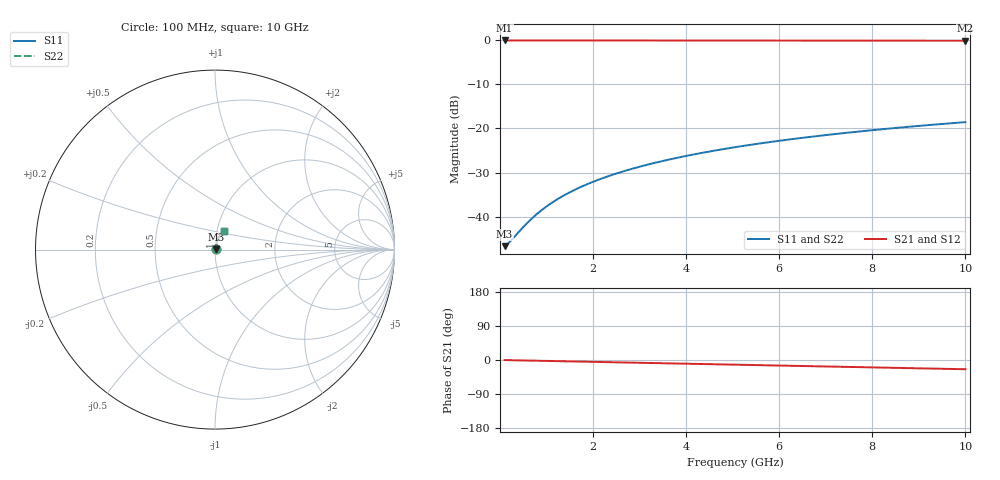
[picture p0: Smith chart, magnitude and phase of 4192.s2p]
# Hz S RI R 50.00
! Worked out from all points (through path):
!   100 points, 100 MHz to 10 GHz, reference 50 ohm
!   highest |S21| = -0.04 dB at 100 MHz (marker M1); lowest = -0.1 dB at 10 GHz (marker M2)
!   group delay of S21, straight-line fit = 6.77 ps
!   lowest |S11| = -46.7 dB at 100 MHz (marker M3), VSWR 1.01, Z = 50.4 + j0.121 ohm
!   |S11| at or under -10 dB: start of sweep to end of sweep
!   |S22| runs from -46.7 to -18.6 dB; largest |S21 - S12| = 0
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1e8  0.00446 0.0012  0.9955 -0.00425  0.9955 -0.00425  0.00446 0.0012
2e8  0.0045 0.0024  0.9955 -0.00849  0.9955 -0.00849  0.0045 0.0024
5e8  0.00466 0.006  0.9952 -0.0212  0.9952 -0.0212  0.00466 0.006
6e8  0.00473 0.0072  0.9951 -0.0255  0.9951 -0.0255  0.00473 0.0072
7e8  0.00481 0.0084  0.9949 -0.0297  0.9949 -0.0297  0.00481 0.0084
9e8  0.00499 0.0108  0.9946 -0.0382  0.9946 -0.0382  0.00499 0.0108
1.1e9  0.00521 0.0132  0.9942 -0.0467  0.9942 -0.0467  0.00521 0.0132
1.3e9  0.00547 0.0156  0.9937 -0.0552  0.9937 -0.0552  0.00547 0.0156
1.5e9  0.00577 0.018  0.9931 -0.0636  0.9931 -0.0636  0.00577 0.018
1.8e9  0.0063 0.0215  0.9921 -0.0763  0.9921 -0.0763  0.0063 0.0215
2.1e9  0.00691 0.0251  0.991 -0.089  0.991 -0.089  0.00691 0.0251
2.5e9  0.00787 0.0298  0.9892 -0.1059  0.9892 -0.1059  0.00787 0.0298
2.9e9  0.00899 0.0344  0.987 -0.1227  0.987 -0.1227  0.00899 0.0344
3.4e9  0.0106 0.0402  0.9839 -0.1437  0.9839 -0.1437  0.0106 0.0402
3.8e9  0.0121 0.0448  0.9811 -0.1604  0.9811 -0.1604  0.0121 0.0448
4.2e9  0.0137 0.0493  0.978 -0.1771  0.978 -0.1771  0.0137 0.0493
5.1e9  0.0179 0.0592  0.9698 -0.2143  0.9698 -0.2143  0.0179 0.0592
5.9e9  0.0223 0.0677  0.9613 -0.247  0.9613 -0.247  0.0223 0.0677
6.7e9  0.0272 0.0759  0.9517 -0.2793  0.9517 -0.2793  0.0272 0.0759
7.5e9  0.0327 0.0837  0.9409 -0.3112  0.9409 -0.3112  0.0327 0.0837
8.4e9  0.0394 0.092  0.9273 -0.3465  0.9273 -0.3465  0.0394 0.092
1e10  0.0529 0.1054  0.8999 -0.4077  0.8999 -0.4077  0.0529 0.1054
